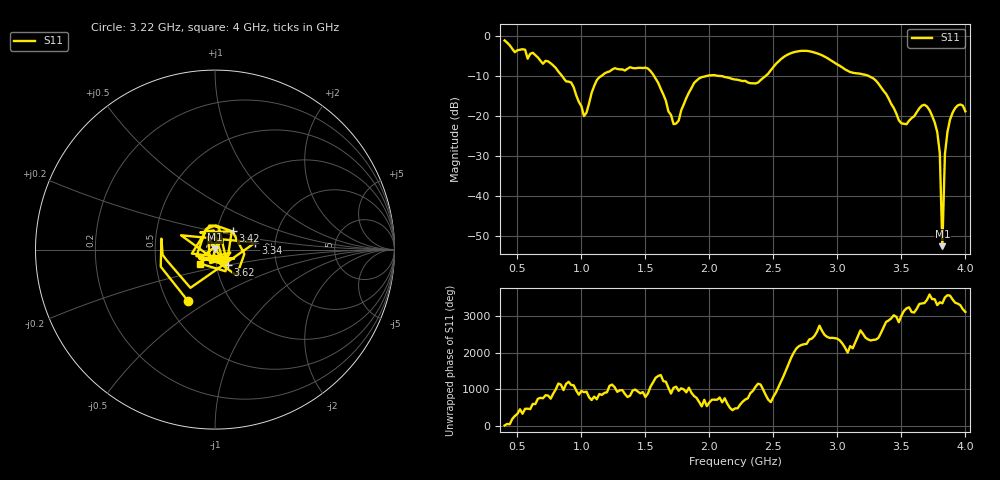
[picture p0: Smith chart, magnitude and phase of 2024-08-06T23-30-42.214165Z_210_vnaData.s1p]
!Created with skrf (http://scikit-rf.org).
# Hz S RI R 50.0
!freq ReS11 ImS11
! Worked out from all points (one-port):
!   181 points, 400 MHz to 4 GHz, reference 50 ohm
!   lowest |S11| = -52.5 dB at 3.82 GHz (marker M1), VSWR 1.00, Z = 50 + j0.236 ohm
!   |S11| at or under -10 dB: 1.566 GHz to 1.986 GHz (419.2 MHz wide, 23.6 % of centre); 2.063 GHz to 2.441 GHz (378.2 MHz wide, 16.8 % of centre); 3.241 GHz to end of sweep (the widest 3 of 4)
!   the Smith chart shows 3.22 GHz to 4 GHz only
!   S11 on the Smith chart (normalised r, x): 3.22 GHz: 0.64, -0.41; 3.34 GHz: 1.57, +0.13; 3.42 GHz: 1.19, +0.25; 3.62 GHz: 1.13, -0.20; 4 GHz: 0.84, -0.13
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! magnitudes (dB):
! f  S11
! 400 MHz  -1.2
! 860 MHz  -10.6
! 920 MHz  -11.7
! 1.02 GHz  -20.1
! 1.12 GHz  -11.1
! 1.3 GHz  -8.4
! 1.52 GHz  -8.2
! 1.72 GHz  -22.1
! 1.76 GHz  -21.2
! 1.92 GHz  -10.7
! 2.2 GHz  -10.9
! 2.38 GHz  -11.7
! 2.66 GHz  -4.1
! 3.1 GHz  -9.1
! 3.22 GHz  -9.8
! 3.34 GHz  -12.8
! 3.42 GHz  -17.0
! 3.5 GHz  -21.9
! 3.56 GHz  -21.2
! 3.62 GHz  -19.1
! 3.7 GHz  -17.7
! 3.78 GHz  -24.0
! 3.8 GHz  -29.3
! 3.82 GHz  -52.5
! 3.84 GHz  -29.6
! 3.86 GHz  -24.0
! 3.92 GHz  -18.1
! 4 GHz  -18.9
